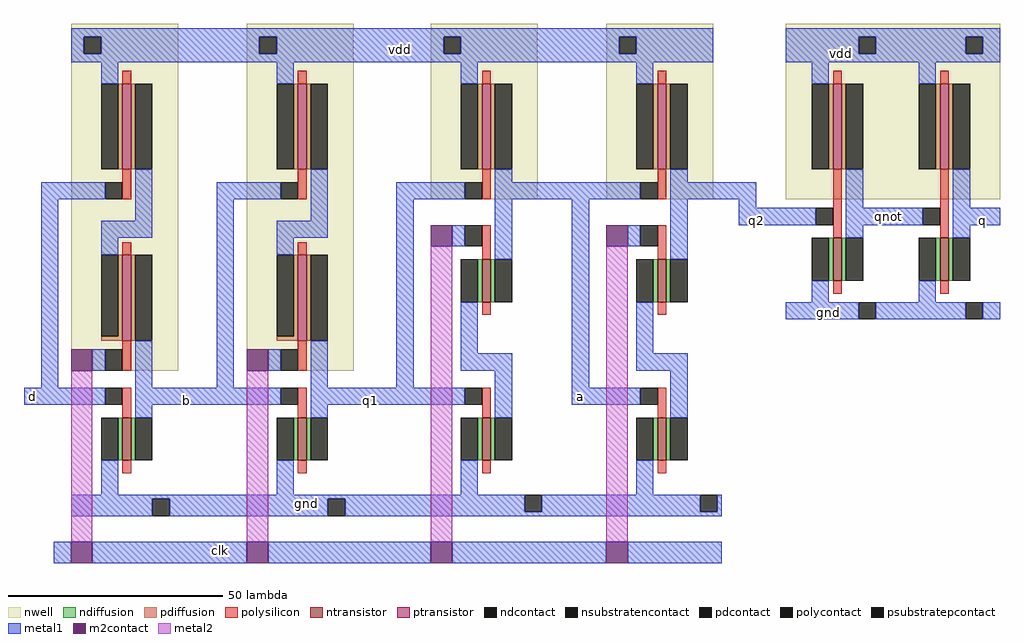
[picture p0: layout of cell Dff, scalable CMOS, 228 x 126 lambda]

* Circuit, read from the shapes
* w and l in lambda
.subckt Dff a b clk d gnd q q1 q2 qnot vdd
M1 b d gnd gnd nfet w=10 l=2
M2 q1 b gnd gnd nfet w=10 l=2
M3 n1 q1 gnd gnd nfet w=10 l=2
M4 a clk n1 gnd nfet w=10 l=2
M5 n2 a gnd gnd nfet w=10 l=2
M6 q2 clk n2 gnd nfet w=10 l=2
M7 qnot q2 gnd gnd nfet w=10 l=2
M8 q qnot gnd gnd nfet w=10 l=2
M9 b clk n3 vdd pfet w=20 l=2
M10 n3 d vdd vdd pfet w=20 l=2
M11 q1 clk n4 vdd pfet w=20 l=2
M12 n4 b vdd vdd pfet w=20 l=2
M13 a q1 vdd vdd pfet w=20 l=2
M14 q2 a vdd vdd pfet w=20 l=2
M15 qnot q2 vdd vdd pfet w=20 l=2
M16 q qnot vdd vdd pfet w=20 l=2
.ends

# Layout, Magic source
magic
tech scmos
<< nwell >>
rect -1 -1 24 80
rect 40 -1 65 80
rect 83 39 108 80
rect 124 39 149 80
rect 166 39 216 80
<< ntransistor >>
rect 95 15 97 25
rect 136 15 138 25
rect 177 20 179 30
rect 202 20 204 30
rect 11 -22 13 -12
rect 52 -22 54 -12
rect 95 -22 97 -12
rect 136 -22 138 -12
<< ptransistor >>
rect 11 46 13 66
rect 52 46 54 66
rect 95 46 97 66
rect 136 46 138 66
rect 177 46 179 66
rect 202 46 204 66
rect 11 6 13 26
rect 52 6 54 26
<< ndiffusion >>
rect 94 15 95 25
rect 97 15 98 25
rect 135 15 136 25
rect 138 15 139 25
rect 176 20 177 30
rect 179 20 180 30
rect 201 20 202 30
rect 204 20 205 30
rect 10 -22 11 -12
rect 13 -22 14 -12
rect 51 -22 52 -12
rect 54 -22 55 -12
rect 94 -22 95 -12
rect 97 -22 98 -12
rect 135 -22 136 -12
rect 138 -22 139 -12
<< pdiffusion >>
rect 10 46 11 66
rect 13 46 14 66
rect 51 46 52 66
rect 54 46 55 66
rect 94 46 95 66
rect 97 46 98 66
rect 135 46 136 66
rect 138 46 139 66
rect 176 46 177 66
rect 179 46 180 66
rect 201 46 202 66
rect 204 46 205 66
rect 10 7 11 26
rect 6 6 11 7
rect 13 6 14 26
rect 51 7 52 26
rect 47 6 52 7
rect 54 6 55 26
<< ndcontact >>
rect 90 15 94 25
rect 98 15 102 25
rect 131 15 135 25
rect 139 15 143 25
rect 172 20 176 30
rect 180 20 184 30
rect 197 20 201 30
rect 205 20 209 30
rect 6 -22 10 -12
rect 14 -22 18 -12
rect 47 -22 51 -12
rect 55 -22 59 -12
rect 90 -22 94 -12
rect 98 -22 102 -12
rect 131 -22 135 -12
rect 139 -22 143 -12
<< pdcontact >>
rect 6 46 10 66
rect 14 46 18 66
rect 47 46 51 66
rect 55 46 59 66
rect 90 46 94 66
rect 98 46 102 66
rect 131 46 135 66
rect 139 46 143 66
rect 172 46 176 66
rect 180 46 184 66
rect 197 46 201 66
rect 205 46 209 66
rect 6 7 10 26
rect 14 6 18 26
rect 47 7 51 26
rect 55 6 59 26
<< psubstratepcontact >>
rect 183 11 187 15
rect 208 11 212 15
rect 18 -35 22 -31
rect 59 -35 63 -31
rect 105 -34 109 -30
rect 146 -34 150 -30
<< nsubstratencontact >>
rect 2 73 6 77
rect 43 73 47 77
rect 86 73 90 77
rect 127 73 131 77
rect 183 73 187 77
rect 208 73 212 77
<< polysilicon >>
rect 11 66 13 69
rect 52 66 54 69
rect 95 66 97 69
rect 136 66 138 69
rect 177 66 179 69
rect 202 66 204 69
rect 11 39 13 46
rect 52 39 54 46
rect 95 39 97 46
rect 136 39 138 46
rect 11 26 13 29
rect 52 26 54 29
rect 95 25 97 33
rect 136 25 138 33
rect 177 30 179 46
rect 202 30 204 46
rect 177 17 179 20
rect 202 17 204 20
rect 95 12 97 15
rect 136 12 138 15
rect 11 -1 13 6
rect 52 -1 54 6
rect 11 -12 13 -5
rect 52 -12 54 -5
rect 95 -12 97 -5
rect 136 -12 138 -5
rect 11 -25 13 -22
rect 52 -25 54 -22
rect 95 -25 97 -22
rect 136 -25 138 -22
<< polycontact >>
rect 7 39 11 43
rect 48 39 52 43
rect 91 39 95 43
rect 132 39 136 43
rect 173 33 177 37
rect 91 28 95 33
rect 132 28 136 33
rect 198 33 202 37
rect 7 -1 11 4
rect 48 -1 52 4
rect 7 -9 11 -5
rect 48 -9 52 -5
rect 91 -9 95 -5
rect 132 -9 136 -5
<< metal1 >>
rect -1 77 149 79
rect -1 73 2 77
rect 6 73 43 77
rect 47 73 86 77
rect 90 73 127 77
rect 131 73 149 77
rect -1 71 149 73
rect 166 77 216 79
rect 166 73 183 77
rect 187 73 208 77
rect 212 73 216 77
rect 166 71 216 73
rect 6 66 10 71
rect 47 66 51 71
rect 90 66 94 71
rect 131 66 135 71
rect 172 66 176 71
rect 197 66 201 71
rect -8 39 7 43
rect -8 -5 -4 39
rect 14 34 18 46
rect 6 30 18 34
rect 33 39 48 43
rect 6 26 10 30
rect 4 -1 7 4
rect 14 -5 18 6
rect 33 -5 37 39
rect 55 34 59 46
rect 98 43 102 46
rect 139 43 143 46
rect 47 30 59 34
rect 75 39 91 43
rect 98 39 132 43
rect 139 39 159 43
rect 47 26 51 30
rect 45 -1 48 4
rect 55 -5 59 6
rect 75 -5 79 39
rect 88 28 91 33
rect 98 25 102 39
rect 90 3 94 15
rect 90 -1 102 3
rect -12 -9 7 -5
rect 14 -9 48 -5
rect 55 -9 91 -5
rect 14 -12 18 -9
rect 55 -12 59 -9
rect 98 -12 102 -1
rect 116 -5 120 39
rect 129 28 132 33
rect 139 25 143 39
rect 155 37 159 39
rect 180 37 184 46
rect 205 37 209 46
rect 155 33 173 37
rect 180 33 198 37
rect 205 33 216 37
rect 180 30 184 33
rect 205 30 209 33
rect 172 15 176 20
rect 197 15 201 20
rect 131 3 135 15
rect 166 11 183 15
rect 187 11 208 15
rect 212 11 216 15
rect 131 -1 143 3
rect 116 -9 132 -5
rect 139 -12 143 -1
rect 6 -30 10 -22
rect 47 -30 51 -22
rect 90 -30 94 -22
rect 131 -30 135 -22
rect -1 -31 105 -30
rect -1 -35 18 -31
rect 22 -35 59 -31
rect 63 -34 105 -31
rect 109 -34 146 -30
rect 150 -34 151 -30
rect 63 -35 151 -34
rect -5 -46 -1 -41
rect 4 -46 40 -41
rect 45 -46 83 -41
rect 88 -46 124 -41
rect 129 -46 151 -41
<< m2contact >>
rect -1 -1 4 4
rect 40 -1 45 4
rect 83 28 88 33
rect 124 28 129 33
rect -1 -46 4 -41
rect 40 -46 45 -41
rect 83 -46 88 -41
rect 124 -46 129 -41
<< metal2 >>
rect -1 -41 4 -1
rect 40 -41 45 -1
rect 83 -41 88 28
rect 124 -41 129 28
<< labels >>
rlabel metal1 179 73 179 73 1 vdd
rlabel metal1 176 12 176 13 1 gnd
rlabel metal1 54 -32 54 -32 1 gnd
rlabel metal1 34 -43 34 -43 1 clk
rlabel metal1 -10 -7 -10 -7 3 d
rlabel metal1 26 -8 26 -8 1 b
rlabel metal1 69 -8 69 -8 1 q1
rlabel metal1 118 -7 118 -7 1 a
rlabel metal1 159 34 159 34 1 q2
rlabel metal1 212 34 212 34 7 q
rlabel metal1 190 35 190 35 1 qnot
rlabel metal1 76 74 76 74 1 vdd
<< end >>
